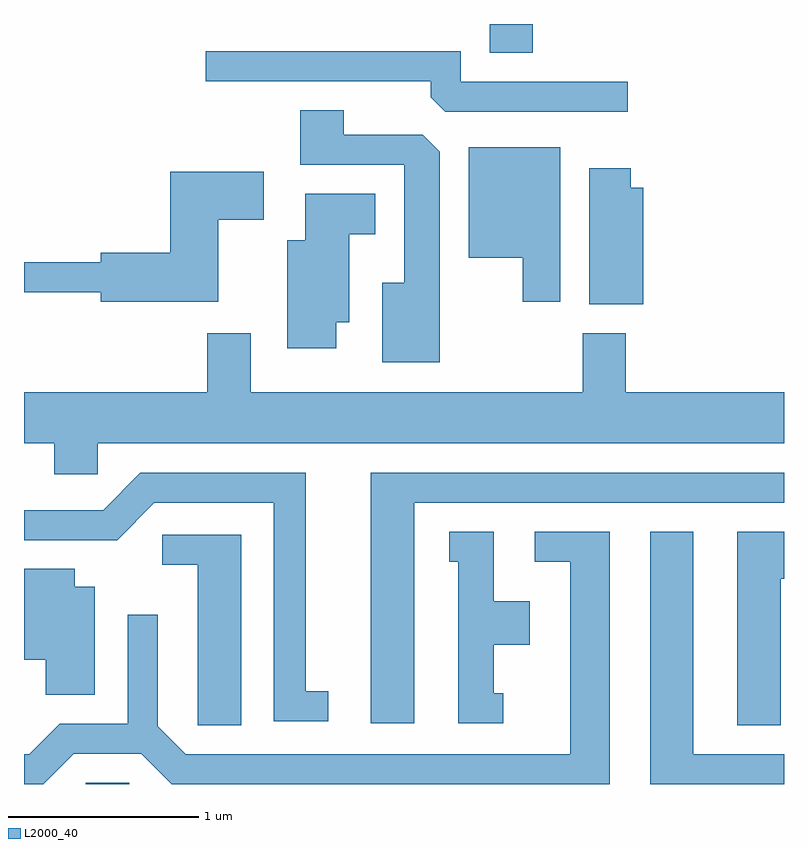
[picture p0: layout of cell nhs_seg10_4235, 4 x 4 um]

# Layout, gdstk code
import gdstk
lib = gdstk.Library(unit=1e-6, precision=1e-09)
def R(c, l, rs):  # rectangles x0, y0, x1, y1
    for r in rs: c.add(gdstk.rectangle(r[:2], r[2:], *l))
def P(c, l, *ps):  # polygons
    for p in ps: c.add(gdstk.Polygon(p, *l))
L2000_40 = (2000, 40)

nhs_seg10_4235 = lib.new_cell('nhs_seg10_4235')
R(nhs_seg10_4235, L2000_40, [(309.936,2156.522,310.164,2156.529), (312.061,2160.371,312.289,2160.522)])
P(nhs_seg10_4235, L2000_40, [(312.788,2160.219),(311.909,2160.219),(311.909,2160.379),(310.568,2160.379),(310.568,2160.221),(311.751,2160.221),(311.751,2160.137),(311.827,2160.061),(312.788,2160.061)],
  [(311.799,2159.849),(311.709,2159.939),(311.294,2159.939),(311.294,2160.069),(311.066,2160.069),(311.066,2159.781),(311.611,2159.781),(311.611,2159.159),(311.496,2159.159),(311.496,2158.741),(311.799,2158.741)],
  [(312.434,2159.874),(311.951,2159.874),(311.951,2159.291),(312.236,2159.291),(312.236,2159.061),(312.434,2159.061)],
  [(312.869,2159.659),(312.804,2159.659),(312.804,2159.764),(312.586,2159.764),(312.586,2159.046),(312.869,2159.046)],
  [(310.634,2159.491),(310.874,2159.491),(310.874,2159.744),(310.381,2159.744),(310.381,2159.319),(310.016,2159.319),(310.016,2159.269),(309.611,2159.269),(309.611,2159.111),(310.016,2159.111),(310.016,2159.061),(310.634,2159.061)],
  [(311.254,2158.951),(311.324,2158.951),(311.324,2159.416),(311.459,2159.416),(311.459,2159.629),(311.091,2159.629),(311.091,2159.384),(310.996,2159.384),(310.996,2158.816),(311.254,2158.816)],
  [(309.999,2158.316),(313.611,2158.316),(313.611,2158.584),(312.779,2158.584),(312.779,2158.894),(312.551,2158.894),(312.551,2158.584),(310.804,2158.584),(310.804,2158.894),(310.576,2158.894),(310.576,2158.584),(309.611,2158.584),(309.611,2158.316),(309.771,2158.316),(309.771,2158.151),(309.999,2158.151)],
  [(311.213,2157.009),(311.094,2157.009),(311.094,2158.159),(310.224,2158.159),(310.029,2157.964),(309.611,2157.964),(309.611,2157.806),(310.102,2157.806),(310.297,2158.001),(310.926,2158.001),(310.926,2156.851),(311.213,2156.851)],
  [(311.664,2158.001),(313.611,2158.001),(313.611,2158.159),(311.436,2158.159),(311.436,2156.841),(311.664,2156.841)],
  [(313.594,2157.601),(313.611,2157.601),(313.611,2157.849),(313.366,2157.849),(313.366,2156.831),(313.594,2156.831)],
  [(312.133,2156.999),(312.084,2156.999),(312.084,2157.256),(312.274,2157.256),(312.274,2157.484),(312.084,2157.484),(312.084,2157.849),(311.848,2157.849),(311.848,2157.691),(311.896,2157.691),(311.896,2156.841),(312.133,2156.841)],
  [(309.872,2156.681),(310.229,2156.681),(310.388,2156.522),(312.694,2156.522),(312.694,2157.849),(312.298,2157.849),(312.298,2157.691),(312.486,2157.691),(312.486,2156.679),(310.462,2156.679),(310.314,2156.827),(310.314,2157.413),(310.156,2157.413),(310.156,2156.839),(309.799,2156.839),(309.639,2156.679),(309.611,2156.679),(309.611,2156.522),(309.713,2156.522)],
  [(313.611,2156.679),(313.134,2156.679),(313.134,2157.849),(312.906,2157.849),(312.906,2156.522),(313.611,2156.522)],
  [(310.754,2157.834),(310.338,2157.834),(310.338,2157.676),(310.526,2157.676),(310.526,2156.831),(310.754,2156.831)],
  [(309.984,2157.559),(309.879,2157.559),(309.879,2157.654),(309.611,2157.654),(309.611,2157.176),(309.726,2157.176),(309.726,2156.991),(309.984,2156.991)])

lib.write_gds('nhs_seg10_4235.gds')
